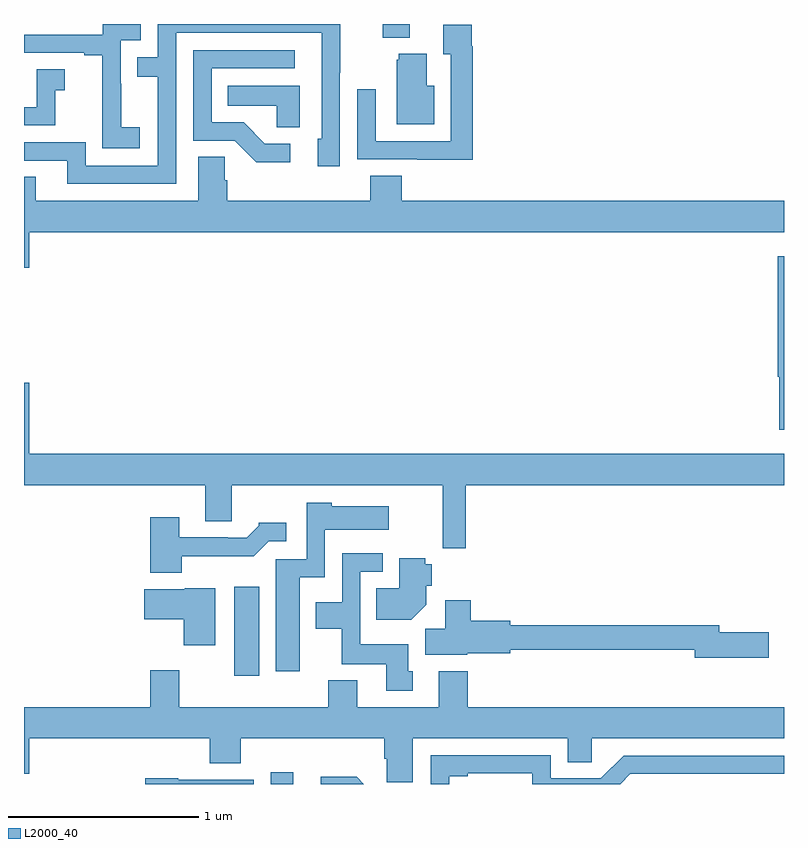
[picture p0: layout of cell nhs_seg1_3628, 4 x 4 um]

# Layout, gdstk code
import gdstk
lib = gdstk.Library(unit=1e-6, precision=1e-09)
def R(c, l, rs):  # rectangles x0, y0, x1, y1
    for r in rs: c.add(gdstk.rectangle(r[:2], r[2:], *l))
def P(c, l, *ps):  # polygons
    for p in ps: c.add(gdstk.Polygon(p, *l))
L2000_40 = (2000, 40)

nhs_seg1_3628 = lib.new_cell('nhs_seg1_3628')
R(nhs_seg1_3628, L2000_40, [(310.299,510.199,310.417,510.262), (310.106,510.768,310.237,511.237), (310.889,514.127,311.029,514.199)])
P(nhs_seg1_3628, L2000_40, [(309.61,513.655),(309.512,513.655),(309.512,513.884),(309.51,513.884),(309.51,514.113),(309.615,514.113),(309.615,514.199),(309.414,514.199),(309.414,514.143),(309,514.143),(309,514.047),(309.317,514.047),(309.317,514.035),(309.413,514.035),(309.413,513.751),(309.412,513.751),(309.412,513.545),(309.61,513.545)],
  [(309.801,514.152),(310.566,514.152),(310.566,513.594),(310.547,513.594),(310.547,513.45),(310.662,513.45),(310.662,513.943),(310.665,513.943),(310.665,514.199),(309.705,514.199),(309.705,514.023),(309.595,514.023),(309.595,513.922),(309.705,513.922),(309.705,513.453),(309.324,513.453),(309.324,513.576),(309,513.576),(309,513.48),(309.227,513.48),(309.227,513.357),(309.801,513.357)],
  [(311.363,514.082),(311.356,514.082),(311.356,514.195),(311.207,514.195),(311.207,514.039),(311.247,514.039),(311.247,513.582),(310.851,513.582),(310.851,513.856),(310.755,513.856),(310.755,513.486),(311.071,513.486),(311.071,513.485),(311.363,513.485)],
  [(310.402,513.57),(310.267,513.57),(310.156,513.681),(309.987,513.681),(309.987,513.966),(310.426,513.966),(310.426,514.062),(309.891,514.062),(309.891,513.585),(310.11,513.585),(310.223,513.472),(310.402,513.472)],
  [(311.158,513.874),(311.119,513.874),(311.119,514.042),(310.973,514.042),(310.973,514.011),(310.961,514.011),(310.961,513.671),(311.158,513.671)],
  [(309.165,513.851),(309.214,513.851),(309.214,513.961),(309.066,513.961),(309.066,513.762),(309,513.762),(309,513.666),(309.165,513.666)],
  [(310.45,513.874),(310.072,513.874),(310.072,513.77),(310.329,513.77),(310.329,513.655),(310.45,513.655)],
  [(309.028,513.104),(313,513.104),(313,513.268),(310.988,513.268),(310.988,513.401),(310.823,513.401),(310.823,513.268),(310.07,513.268),(310.07,513.377),(310.056,513.377),(310.056,513.5),(309.917,513.5),(309.917,513.268),(309.061,513.268),(309.061,513.395),(309,513.395),(309,512.916),(309.028,512.916)],
  [(313,512.977),(312.967,512.977),(312.967,512.342),(312.974,512.342),(312.974,512.064),(313,512.064)],
  [(311.324,511.772),(313,511.772),(313,511.936),(309.028,511.936),(309.028,512.311),(309,512.311),(309,511.772),(309.953,511.772),(309.953,511.582),(310.093,511.582),(310.093,511.772),(311.203,511.772),(311.203,511.44),(311.324,511.44)],
  [(310.45,511.286),(310.584,511.286),(310.584,511.538),(310.921,511.538),(310.921,511.66),(310.62,511.66),(310.62,511.678),(310.488,511.678),(310.488,511.383),(310.325,511.383),(310.325,510.792),(310.45,510.792)],
  [(309.83,511.398),(310.209,511.398),(310.287,511.476),(310.381,511.476),(310.381,511.573),(310.236,511.573),(310.236,511.558),(310.172,511.494),(310.073,511.494),(310.073,511.497),(309.817,511.497),(309.817,511.603),(309.665,511.603),(309.665,511.31),(309.83,511.31)],
  [(311.047,510.792),(311.023,510.792),(311.023,510.934),(310.77,510.934),(310.77,511.317),(310.888,511.317),(310.888,511.413),(310.674,511.413),(310.674,511.156),(310.535,511.156),(310.535,511.016),(310.672,511.016),(310.672,510.83),(310.907,510.83),(310.907,510.69),(311.047,510.69)],
  [(311.116,511.142),(311.116,511.242),(311.147,511.242),(311.147,511.356),(311.112,511.356),(311.112,511.386),(310.976,511.386),(310.976,511.228),(310.855,511.228),(310.855,511.064),(311.038,511.064)],
  [(310.006,511.228),(309.846,511.228),(309.846,511.225),(309.633,511.225),(309.633,511.067),(309.842,511.067),(309.842,510.93),(310.006,510.93)],
  [(312.919,510.998),(312.658,510.998),(312.658,511.034),(311.56,511.034),(311.56,511.058),(311.351,511.058),(311.351,511.165),(311.216,511.165),(311.216,511.016),(311.111,511.016),(311.111,510.878),(311.334,510.878),(311.334,510.887),(311.56,510.887),(311.56,510.906),(312.53,510.906),(312.53,510.863),(312.919,510.863)],
  [(311.047,510.44),(311.861,510.44),(311.861,510.313),(311.988,510.313),(311.988,510.44),(313,510.44),(313,510.604),(311.336,510.604),(311.336,510.793),(311.183,510.793),(311.183,510.604),(310.753,510.604),(310.753,510.745),(310.601,510.745),(310.601,510.604),(309.817,510.604),(309.817,510.799),(309.665,510.799),(309.665,510.604),(309,510.604),(309,510.252),(309.028,510.252),(309.028,510.44),(309.977,510.44),(309.977,510.307),(310.142,510.307),(310.142,510.44),(310.895,510.44),(310.895,510.331),(310.908,510.331),(310.908,510.208),(311.047,510.208)],
  [(311.239,510.24),(311.335,510.24),(311.335,510.255),(311.676,510.255),(311.676,510.199),(312.139,510.199),(312.192,510.252),(313,510.252),(313,510.348),(312.156,510.348),(312.036,510.228),(311.772,510.228),(311.772,510.351),(311.142,510.351),(311.142,510.199),(311.239,510.199)],
  [(310.75,510.236),(310.563,510.236),(310.563,510.199),(310.787,510.199)],
  [(310.209,510.222),(309.813,510.222),(309.813,510.229),(309.637,510.229),(309.637,510.199),(310.209,510.199)])

lib.write_gds('nhs_seg1_3628.gds')
